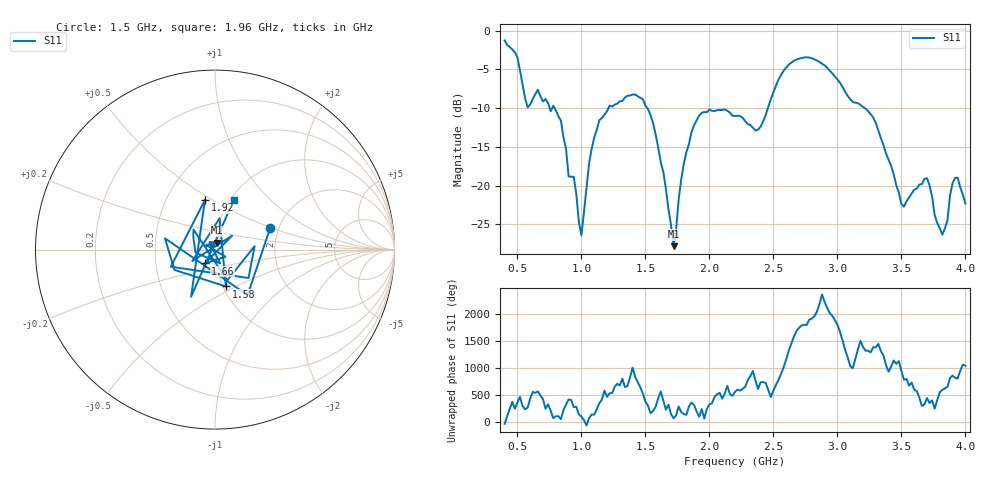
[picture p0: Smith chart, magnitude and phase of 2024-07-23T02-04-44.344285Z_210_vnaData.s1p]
!Created with skrf (http://scikit-rf.org).
# Hz S RI R 50.0
!freq ReS11 ImS11
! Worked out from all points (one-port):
!   181 points, 400 MHz to 4 GHz, reference 50 ohm
!   lowest |S11| = -27.8 dB at 1.72 GHz (marker M1), VSWR 1.08, Z = 51 + j3.99 ohm
!   |S11| at or under -10 dB: 790.9 MHz to 1.211 GHz (420.1 MHz wide, 42 % of centre); 1.515 GHz to 2.457 GHz (941.8 MHz wide, 47.4 % of centre); 3.215 GHz to end of sweep (the widest 3 of 4)
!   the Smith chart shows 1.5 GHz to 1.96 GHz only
!   S11 on the Smith chart (normalised r, x): 1.5 GHz: 1.80, +0.48; 1.58 GHz: 1.03, -0.44; 1.66 GHz: 0.88, -0.14; 1.92 GHz: 0.77, +0.47; 1.96 GHz: 1.04, +0.64
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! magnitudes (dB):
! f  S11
! 400 MHz  -1.3
! 500 MHz  -3.5
! 580 MHz  -9.9
! 660 MHz  -7.6
! 860 MHz  -13.8
! 900 MHz  -18.8
! 940 MHz  -18.8
! 1 GHz  -26.4
! 1.1 GHz  -13.8
! 1.3 GHz  -9.1
! 1.5 GHz  -9.7
! 1.58 GHz  -13.4
! 1.66 GHz  -20.4
! 1.72 GHz  -27.8
! 1.76 GHz  -21.7
! 1.92 GHz  -11.0
! 1.96 GHz  -10.5
! 2.2 GHz  -11.0
! 2.38 GHz  -12.8
! 2.66 GHz  -3.9
! 3.1 GHz  -8.8
! 3.28 GHz  -11.2
! 3.5 GHz  -22.4
! 3.56 GHz  -21.5
! 3.7 GHz  -19.0
! 3.82 GHz  -26.3
! 3.92 GHz  -19.0
! 4 GHz  -22.3
